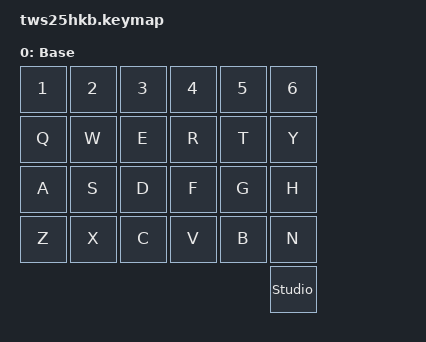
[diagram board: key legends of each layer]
// This file was generated from a template. Edit it to match your keyboard.
// See https://zmk.dev/docs/development/hardware-integration/new-shield for more instructions.

#include <behaviors.dtsi>
#include <dt-bindings/zmk/keys.h>

/ {
    // Define a default keymap here.
    // See https://zmk.dev/docs/development/hardware-integration/new-shield#default-keymap.
    keymap {
        compatible = "zmk,keymap";

        default_layer {
            display-name = "Base";
            bindings = <
                &kp N1   &kp N2   &kp N3   &kp N4   &kp N5   &kp N6
                &kp Q    &kp W    &kp E    &kp R    &kp T    &kp Y
                &kp A    &kp S    &kp D    &kp F    &kp G    &kp H
                &kp Z    &kp X    &kp C    &kp V    &kp B    &kp N &studio_unlock
            >;
        };

        extra_layer_1 {
            status = "reserved";
        };

        extra_layer_2 {
            status = "reserved";
        };

        extra_layer_3 {
            status = "reserved";
        };

        extra_layer_4 {
            status = "reserved";
        };

        extra_layer_5 {
            status = "reserved";
        };

        extra_layer_6 {
            status = "reserved";
        };

        extra_layer_7 {
            status = "reserved";
        };

        extra_layer_8 {
            status = "reserved";
        };

        extra_layer_9 {
            status = "reserved";
        };
        extra_layer_10 {
            status = "reserved";
        };
    };
};
